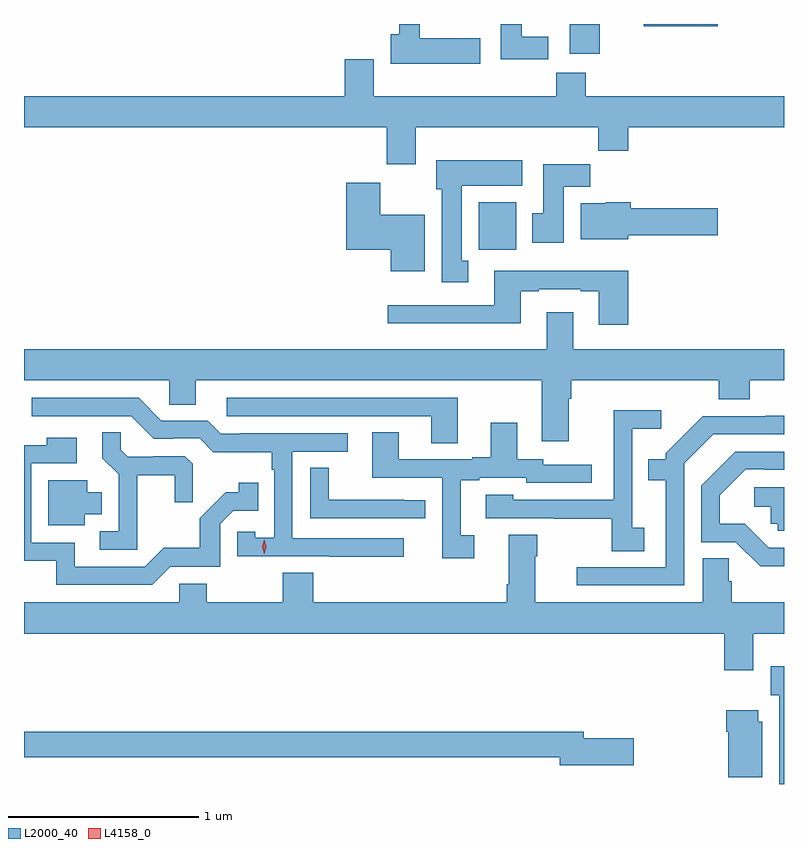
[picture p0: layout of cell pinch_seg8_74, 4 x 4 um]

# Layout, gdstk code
import gdstk
lib = gdstk.Library(unit=1e-6, precision=1e-09)
def R(c, l, rs):  # rectangles x0, y0, x1, y1
    for r in rs: c.add(gdstk.rectangle(r[:2], r[2:], *l))
def P(c, l, *ps):  # polygons
    for p in ps: c.add(gdstk.Polygon(p, *l))
L2000_40 = (2000, 40)
L4158_0 = (4158, 0)

pinch_seg8_74 = lib.new_cell('pinch_seg8_74')
R(pinch_seg8_74, L2000_40, [(959.013,1093.212,959.209,1093.462), (959.492,1094.244,959.65,1094.4), (959.882,1094.389,960.271,1094.4)])
P(pinch_seg8_74, L2000_40, [(959.378,1094.332),(959.239,1094.332),(959.239,1094.4),(959.129,1094.4),(959.129,1094.214),(959.378,1094.214)],
  [(959.02,1094.326),(958.702,1094.326),(958.702,1094.4),(958.595,1094.4),(958.595,1094.346),(958.55,1094.346),(958.55,1094.192),(959.02,1094.192)],
  [(958.681,1093.856),(959.641,1093.856),(959.641,1093.732),(959.798,1093.732),(959.798,1093.856),(960.619,1093.856),(960.619,1094.02),(959.576,1094.02),(959.576,1094.144),(959.419,1094.144),(959.419,1094.02),(958.459,1094.02),(958.459,1094.215),(958.307,1094.215),(958.307,1094.02),(956.619,1094.02),(956.619,1093.856),(958.529,1093.856),(958.529,1093.662),(958.681,1093.662)],
  [(958.957,1093.153),(958.924,1093.153),(958.924,1093.55),(959.242,1093.55),(959.242,1093.684),(958.79,1093.684),(958.79,1093.53),(958.817,1093.53),(958.817,1093.041),(958.957,1093.041)],
  [(959.461,1093.544),(959.6,1093.544),(959.6,1093.663),(959.351,1093.663),(959.351,1093.404),(959.294,1093.404),(959.294,1093.248),(959.461,1093.248)],
  [(958.729,1093.396),(958.494,1093.396),(958.494,1093.564),(958.316,1093.564),(958.316,1093.211),(958.55,1093.211),(958.55,1093.1),(958.729,1093.1)],
  [(959.8,1093.289),(960.271,1093.289),(960.271,1093.431),(959.813,1093.431),(959.813,1093.462),(959.682,1093.462),(959.682,1093.456),(959.549,1093.456),(959.549,1093.268),(959.8,1093.268)],
  [(959.798,1093.102),(959.093,1093.102),(959.093,1092.921),(958.533,1092.921),(958.533,1092.824),(959.233,1092.824),(959.233,1092.993),(959.329,1092.993),(959.329,1093.005),(959.549,1093.005),(959.549,1092.993),(959.645,1092.993),(959.645,1092.816),(959.798,1092.816)],
  [(959.485,1092.428),(959.498,1092.428),(959.498,1092.524),(960.275,1092.524),(960.275,1092.425),(960.44,1092.425),(960.44,1092.524),(960.619,1092.524),(960.619,1092.688),(959.509,1092.688),(959.509,1092.883),(959.369,1092.883),(959.369,1092.688),(956.619,1092.688),(956.619,1092.524),(957.384,1092.524),(957.384,1092.397),(957.523,1092.397),(957.523,1092.524),(959.345,1092.524),(959.345,1092.204),(959.485,1092.204)],
  [(958.903,1092.432),(957.687,1092.432),(957.687,1092.336),(958.763,1092.336),(958.763,1092.193),(958.903,1092.193)],
  [(958.618,1091.694),(958.032,1091.694),(958.032,1092.15),(958.324,1092.15),(958.324,1092.246),(957.754,1092.246),(957.754,1092.243),(957.654,1092.243),(957.585,1092.312),(957.342,1092.312),(957.222,1092.432),(956.66,1092.432),(956.66,1092.336),(957.183,1092.336),(957.303,1092.216),(957.404,1092.216),(957.404,1092.219),(957.543,1092.219),(957.616,1092.146),(957.924,1092.146),(957.924,1092.053),(957.936,1092.053),(957.936,1091.695),(957.837,1091.695),(957.837,1091.727),(957.741,1091.727),(957.741,1091.598),(958.225,1091.598),(958.225,1091.596),(958.618,1091.596)],
  [(959.884,1091.748),(959.82,1091.748),(959.82,1092.269),(959.974,1092.269),(959.974,1092.367),(959.722,1092.367),(959.722,1092.128),(959.724,1092.128),(959.724,1091.895),(959.193,1091.895),(959.193,1091.923),(959.049,1091.923),(959.049,1091.799),(959.407,1091.799),(959.407,1091.797),(959.712,1091.797),(959.712,1091.626),(959.884,1091.626)],
  [(960.093,1092.087),(960.246,1092.24),(960.619,1092.24),(960.619,1092.338),(960.523,1092.338),(960.523,1092.336),(960.192,1092.336),(959.997,1092.141),(959.997,1092.109),(959.905,1092.109),(959.905,1092),(959.996,1092),(959.996,1091.541),(959.529,1091.541),(959.529,1091.445),(960.093,1091.445)],
  [(958.99,1091.709),(958.918,1091.709),(958.918,1092),(959.014,1092),(959.014,1092.012),(959.262,1092.012),(959.262,1091.985),(959.608,1091.985),(959.608,1092.081),(959.352,1092.081),(959.352,1092.108),(959.215,1092.108),(959.215,1092.301),(959.075,1092.301),(959.075,1092.121),(958.979,1092.121),(958.979,1092.108),(958.591,1092.108),(958.591,1092.251),(958.451,1092.251),(958.451,1092.012),(958.821,1092.012),(958.821,1091.589),(958.99,1091.589)],
  [(957.215,1092.026),(957.412,1092.026),(957.412,1091.883),(957.506,1091.883),(957.506,1092.085),(957.465,1092.126),(957.3,1092.126),(957.3,1092.123),(957.166,1092.123),(957.129,1092.16),(957.129,1092.251),(957.031,1092.251),(957.031,1092.115),(957.117,1092.029),(957.117,1091.73),(957.018,1091.73),(957.018,1091.634),(957.215,1091.634)],
  [(957.39,1091.544),(957.651,1091.544),(957.651,1091.769),(957.72,1091.838),(957.851,1091.838),(957.851,1091.986),(957.75,1091.986),(957.75,1091.936),(957.68,1091.936),(957.543,1091.798),(957.543,1091.643),(957.354,1091.643),(957.255,1091.544),(956.887,1091.544),(956.887,1091.67),(956.658,1091.67),(956.658,1092.087),(956.896,1092.087),(956.896,1092.223),(956.74,1092.223),(956.74,1092.183),(956.619,1092.183),(956.619,1091.574),(956.789,1091.574),(956.789,1091.448),(957.294,1091.448)],
  [(960.619,1091.643),(960.54,1091.643),(960.413,1091.77),(960.28,1091.77),(960.28,1091.92),(960.417,1092.057),(960.517,1092.057),(960.517,1092.054),(960.619,1092.054),(960.619,1092.15),(960.362,1092.15),(960.183,1091.971),(960.183,1091.673),(960.366,1091.673),(960.494,1091.546),(960.619,1091.546)],
  [(958.732,1091.894),(958.619,1091.894),(958.619,1091.895),(958.224,1091.895),(958.224,1092.065),(958.125,1092.065),(958.125,1091.799),(958.732,1091.799)],
  [(956.938,1091.819),(957.028,1091.819),(957.028,1091.935),(956.953,1091.935),(956.953,1091.998),(956.747,1091.998),(956.747,1091.762),(956.938,1091.762)],
  [(960.619,1091.961),(960.462,1091.961),(960.462,1091.858),(960.549,1091.858),(960.549,1091.769),(960.585,1091.769),(960.585,1091.733),(960.619,1091.733)],
  [(960.457,1091.192),(960.619,1091.192),(960.619,1091.356),(960.344,1091.356),(960.344,1091.466),(960.329,1091.466),(960.329,1091.588),(960.191,1091.588),(960.191,1091.356),(959.311,1091.356),(959.311,1091.6),(959.319,1091.6),(959.319,1091.713),(959.171,1091.713),(959.171,1091.452),(959.159,1091.452),(959.159,1091.356),(958.142,1091.356),(958.142,1091.513),(957.982,1091.513),(957.982,1091.356),(957.582,1091.356),(957.582,1091.454),(957.435,1091.454),(957.435,1091.356),(956.619,1091.356),(956.619,1091.192),(960.305,1091.192),(960.305,1090.998),(960.457,1090.998)],
  [(960.619,1091.02),(960.548,1091.02),(960.548,1090.866),(960.593,1090.866),(960.593,1090.4),(960.619,1090.4)],
  [(960.505,1090.728),(960.484,1090.728),(960.484,1090.789),(960.314,1090.789),(960.314,1090.676),(960.326,1090.676),(960.326,1090.436),(960.505,1090.436)],
  [(959.827,1090.64),(959.566,1090.64),(959.566,1090.676),(956.619,1090.676),(956.619,1090.54),(959.438,1090.54),(959.438,1090.498),(959.827,1090.498)])
P(pinch_seg8_74, L4158_0, [(957.883,1091.613),(957.883,1091.613),(957.873,1091.649),(957.883,1091.685),(957.883,1091.685),(957.883,1091.685),(957.893,1091.649),(957.883,1091.613)])

lib.write_gds('pinch_seg8_74.gds')
